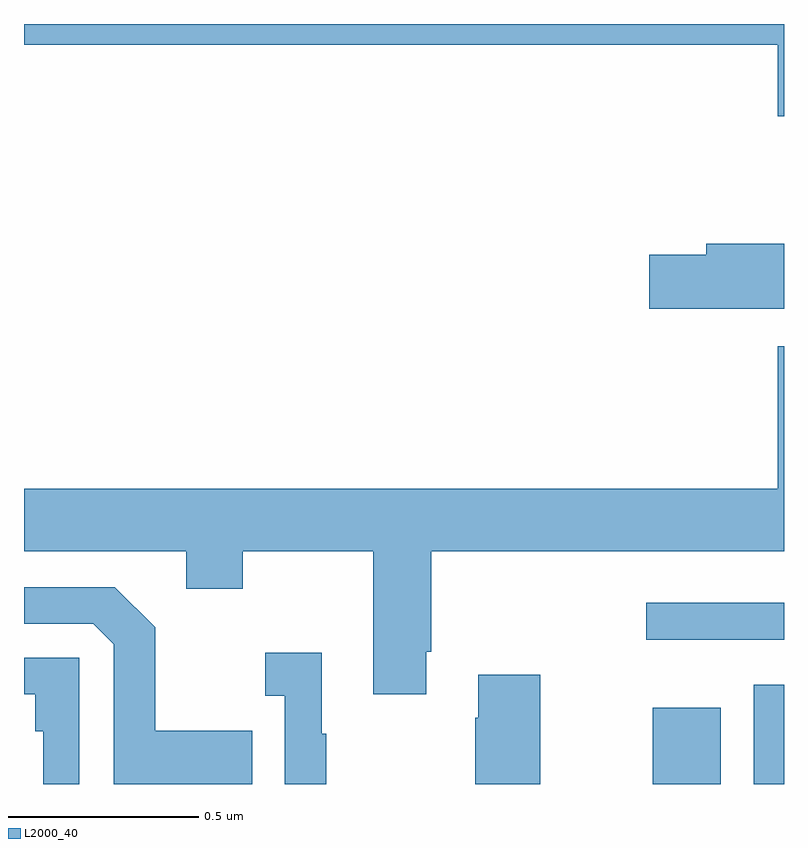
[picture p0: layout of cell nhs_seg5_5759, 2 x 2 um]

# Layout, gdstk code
import gdstk
lib = gdstk.Library(unit=1e-6, precision=1e-09)
def R(c, l, rs):  # rectangles x0, y0, x1, y1
    for r in rs: c.add(gdstk.rectangle(r[:2], r[2:], *l))
def P(c, l, *ps):  # polygons
    for p in ps: c.add(gdstk.Polygon(p, *l))
L2000_40 = (2000, 40)

nhs_seg5_5759 = lib.new_cell('nhs_seg5_5759')
R(nhs_seg5_5759, L2000_40, [(188.654,870.799,188.833,871), (188.921,870.799,189,871.06), (188.637,871.179,189,871.276)])
P(nhs_seg5_5759, L2000_40, [(189,872.799),(187,872.799),(187,872.744),(188.984,872.744),(188.984,872.556),(189,872.556)],
  [(189,872.221),(188.795,872.221),(188.795,872.192),(188.646,872.192),(188.646,872.05),(189,872.05)],
  [(188.059,871.147),(188.072,871.147),(188.072,871.412),(189,871.412),(189,871.951),(188.984,871.951),(188.984,871.576),(187,871.576),(187,871.412),(187.427,871.412),(187.427,871.313),(187.575,871.313),(187.575,871.412),(187.919,871.412),(187.919,871.035),(188.059,871.035)],
  [(187.601,870.939),(187.345,870.939),(187.345,871.211),(187.239,871.317),(187,871.317),(187,871.221),(187.182,871.221),(187.236,871.167),(187.236,870.799),(187.601,870.799)],
  [(187.795,870.931),(187.783,870.931),(187.783,871.144),(187.635,871.144),(187.635,871.031),(187.686,871.031),(187.686,870.799),(187.795,870.799)],
  [(187.146,871.131),(187,871.131),(187,871.035),(187.03,871.035),(187.03,870.938),(187.05,870.938),(187.05,870.799),(187.146,870.799)],
  [(188.358,871.087),(188.195,871.087),(188.195,870.974),(188.188,870.974),(188.188,870.799),(188.358,870.799)])

lib.write_gds('nhs_seg5_5759.gds')
